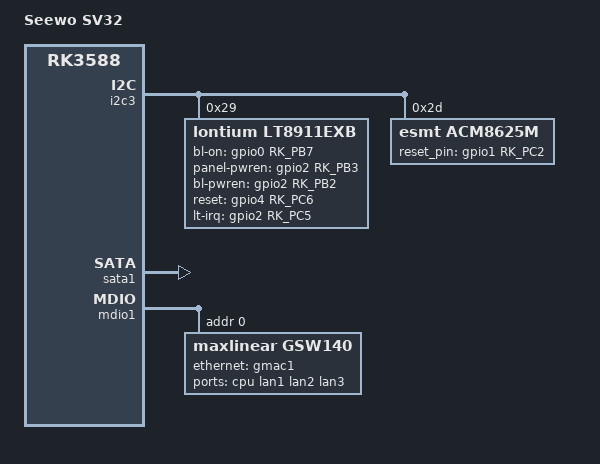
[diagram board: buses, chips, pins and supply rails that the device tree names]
// SPDX-License-Identifier: (GPL-2.0+ OR MIT)
/*
 * Copyright (c) 2026 ColtPlus
 */

/dts-v1/;

#include "rk3588-seewo-sv15-sv32-sv50.dtsi"

/ {
	model = "Seewo SV32";
	compatible = "seewo,sv32", "rockchip,rk3588";

	acm8625m_sound: i2s0-sound {
		compatible = "simple-audio-card";
		simple-audio-card,format = "i2s";
		simple-audio-card,name = "rockchip,acm8625m";
		simple-audio-card,mclk-fs = <256>;
		status = "disab";

		simple-audio-card, {
			sound-dai = <&i2s0_8ch>;
		};

		simple-audio-card,codec {
			sound-dai = <&acm8625m>;
		};
	};
};

&i2c3 {
	lt8911exb: lt8911exb@29 {
		compatible = "lontium,lt8911exb";
		reg = <0x29>;
		bl-on-gpios = <&gpio0 RK_PB7 GPIO_ACTIVE_HIGH>;
		panel-pwren-gpios = <&gpio2 RK_PB3 GPIO_ACTIVE_HIGH>;
		bl-pwren-gpios = <&gpio2 RK_PB2 GPIO_ACTIVE_HIGH>;
		reset-gpios = <&gpio4 RK_PC6 GPIO_ACTIVE_HIGH>;
		lt-irq-gpios = <&gpio2 RK_PC5 GPIO_ACTIVE_HIGH>;
		status = "okay";
	};

	acm8625m: acm8625m@2d {
		compatible = "esmt,acm8625m";
		reg = <0x2d>;
		#sound-dai-cells = <0>;
		reset_pin = <&gpio1 RK_PC2 GPIO_ACTIVE_HIGH>;
		no_mclk;
		status = "okay";
	};
};

&pinctrl {
	usb {
		usb20_pwren_a: usb20-pwren-a {
			rockchip,pins = <4 RK_PD2 RK_FUNC_GPIO &pcfg_pull_none>;
		};

		usb30_pwren_a: usb30-pwren-a {
			rockchip,pins = <4 RK_PD3 RK_FUNC_GPIO &pcfg_pull_none>;
		};

		usb30_pwren_b: usb30-pwren-b {
			rockchip,pins = <1 RK_PD1 RK_FUNC_GPIO &pcfg_pull_none>;
		};
	};
};

&combphy1_ps {
	pinctrl-0 = <&sata1_pm_reset>;
};

&sata1 {
	status = "okay";
};

&mdio1 {
	compatible = "snps,dwmac-mdio";
	#address-cells = <1>;
	#size-cells = <0>;

	gsw140: switch@0 {
		compatible = "maxlinear,gsw140";
		reg = <0>;

		ports {
			#address-cells = <1>;
			#size-cells = <0>;

			port@5 {
				reg = <5>;
				label = "cpu";
				ethernet = <&gmac1>;
				phy-mode = "rgmii";

				fixed-link {
					speed = <1000>;
					full-duplex;
				};
			};

			port@0 {
				reg = <0>;
				label = "lan1";
				phy-mode = "internal";
			};

			port@1 {
				reg = <1>;
				label = "lan2";
				phy-mode = "internal";
			};

			port@2 {
				reg = <2>;
				label = "lan3";
				phy-mode = "internal";
			};
		};
	};
};
